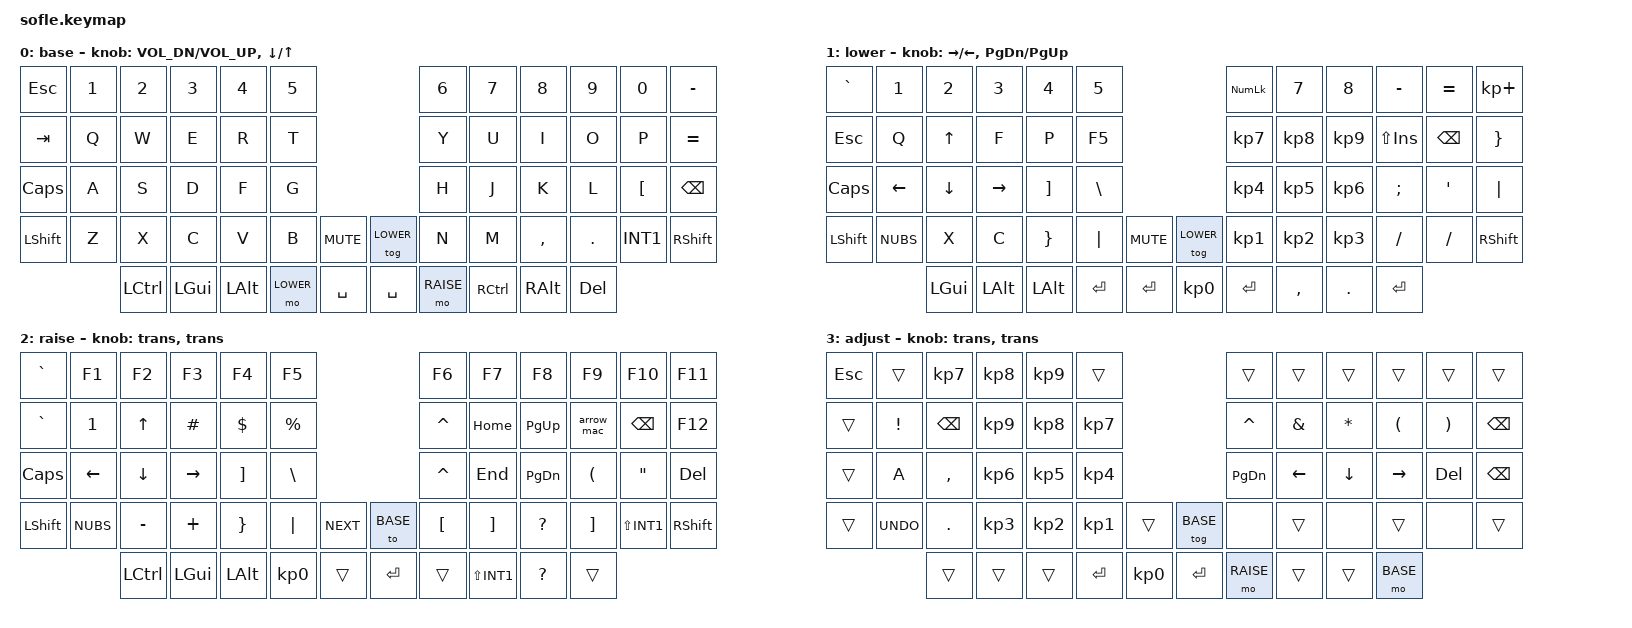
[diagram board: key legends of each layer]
/*
 * Migrated from Vial/QMK layout (layout_antigo.vil)
 */

#include <behaviors.dtsi>
#include <dt-bindings/zmk/keys.h>
#include <dt-bindings/zmk/bt.h>
#include <dt-bindings/zmk/rgb.h>
#include <dt-bindings/zmk/ext_power.h>

#define BASE   0
#define LOWER  1
#define RAISE  2
#define ADJUST 3

/ {

    // Holding LOWER + RAISE together activates ADJUST (same trick the old
    // FN_MO13 / FN_MO23 keycodes did in the QMK/Vial firmware).
    conditional_layers {
        compatible = "zmk,conditional-layers";
        adjust_layer {
            if-layers = <LOWER RAISE>;
            then-layer = <ADJUST>;
        };
    };

    macros {
        arrow_mac: arrow_mac {
            compatible = "zmk,behavior-macro";
            #binding-cells = <0>;
            bindings = <&macro_tap &kp MINUS &kp GT>;
        };
    };

    keymap {
        compatible = "zmk,keymap";

        default_layer {
            display-name = "base";
// ------------------------------------------------------------------------------------------------------------------------
// |  Esc  |  1  |  2  |  3  |  4  |  5  |                                |  6  |  7  |  8  |  9  |  0  |   -    |
// |  Tab  |  Q  |  W  |  E  |  R  |  T  |                                |  Y  |  U  |  I  |  O  |  P  |   =    |
// | Caps  |  A  |  S  |  D  |  F  |  G  |                                |  H  |  J  |  K  |  L  |  [  |  Bksp  |
// | Shift |  Z  |  X  |  C  |  V  |  B  | Mute |            | TG(LOWER) | |  N  |  M  |  ,  |  .  | RO  | Shift  |
//              | Ctrl | Gui | Alt | LOWER | Space |          | Space | RAISE | Ctrl | Alt | Del |
            bindings = <
&kp ESC    &kp N1   &kp N2   &kp N3   &kp N4   &kp N5                                    &kp N6   &kp N7   &kp N8    &kp N9   &kp N0   &kp MINUS
&kp TAB    &kp Q    &kp W    &kp E    &kp R    &kp T                                     &kp Y    &kp U    &kp I     &kp O    &kp P    &kp EQUAL
&kp CAPS   &kp A    &kp S    &kp D    &kp F    &kp G                                     &kp H    &kp J    &kp K     &kp L    &kp LBKT &kp BSPC
&kp LSHFT  &kp Z    &kp X    &kp C    &kp V    &kp B    &kp C_MUTE   &tog LOWER          &kp N    &kp M    &kp COMMA &kp DOT  &kp INT1 &kp RSHFT
                    &kp LCTRL &kp LGUI &kp LALT &mo LOWER &kp SPACE   &kp SPACE &mo RAISE &kp RCTRL &kp RALT &kp DEL
            >;

            sensor-bindings = <&inc_dec_kp C_VOL_DN C_VOL_UP &inc_dec_kp DOWN UP>;
        };

        lower_layer {
            display-name = "lower";
// ------------------------------------------------------------------------------------------------------------------------
// |   `   |  1  |  2  |  3  |  4  |  5  |                                | Num |  7  |  8  |  9  |  =  |  KP+   |
// |  Esc  |  Q  |  Up  |  F  |  P  | F5  |                                | KP7 | KP8 | KP9 | Ins | Bksp|   }    |
// | Caps  | Left| Down |Right|  ]  |  \  |                                | KP4 | KP5 | KP6 |  ;  |  '  |   |    |
// | Shift | RO  |  X   |  C  |  }  |  |  | Mute |            | TG(LOWER) | | KP1 | KP2 | KP3 |  /  |  /  | Shift  |
//              | Gui  | Alt | Alt | Enter | Enter  |          | KP0   | Enter | ,  |  .  | Enter |
            bindings = <
&kp GRAVE  &kp N1   &kp N2   &kp N3   &kp N4   &kp N5                                    &kp KP_NUM &kp N7    &kp N8    &kp MINUS &kp EQUAL &kp KP_PLUS
&kp ESC    &kp Q    &kp UP   &kp F    &kp P    &kp F5                                    &kp KP_N7  &kp KP_N8 &kp KP_N9 &kp LS(INSERT) &kp BSPC &kp RBRC
&kp CAPS   &kp LEFT &kp DOWN &kp RIGHT &kp RBKT &kp BSLH                                 &kp KP_N4  &kp KP_N5 &kp KP_N6 &kp SEMI  &kp SQT   &kp PIPE
&kp LSHFT  &kp NUBS &kp X    &kp C    &kp RBRC &kp PIPE &kp C_MUTE  &tog LOWER           &kp KP_N1  &kp KP_N2 &kp KP_N3 &kp FSLH  &kp FSLH  &kp RSHFT
                    &kp LGUI &kp LALT &kp LALT &kp RET  &kp RET     &kp KP_N0 &kp RET    &kp COMMA  &kp DOT   &kp RET
            >;

            sensor-bindings = <&inc_dec_kp RIGHT LEFT &inc_dec_kp PG_DN PG_UP>;
        };

        raise_layer {
            display-name = "raise";
// ------------------------------------------------------------------------------------------------------------------------
// |   `   | F1  | F2  | F3  | F4  | F5  |                                | F6  | F7  | F8  | F9  | F10 |   F11  |
// |   `   |  1  |  Up |  #  |  $  |  %  |                                |  ^  |Home |PgUp | "->"|Bksp |   F12  |
// | Caps  | Left| Down|Right|  ]  |  \  |                                |  ^  | End |PgDn |  (  |  "  |   Del  |
// | Shift | RO  |  -  |  +  |  }  |  |  |C_NEXT|            |  to(BASE) | |  [  |  ]  |  ?  |  ]  | ?RO |  Shift |
//              | Ctrl | Gui | Alt | KP0 | trans  |          | Enter | trans | ?RO | ?  | trans |
            bindings = <
&kp GRAVE  &kp F1   &kp F2   &kp F3   &kp F4   &kp F5                                    &kp F6     &kp F7    &kp F8      &kp F9     &kp F10  &kp F11
&kp GRAVE  &kp N1   &kp UP   &kp HASH &kp DLLR &kp PRCNT                                 &kp CARET  &kp HOME  &kp PG_UP   &arrow_mac &kp BSPC &kp F12
&kp CAPS   &kp LEFT &kp DOWN &kp RIGHT &kp RBKT &kp BSLH                                 &kp CARET  &kp END   &kp PG_DN   &kp LPAR   &kp DQT  &kp DEL
&kp LSHFT  &kp NUBS &kp MINUS &kp PLUS &kp RBRC &kp PIPE &kp C_NEXT  &to BASE            &kp LBKT   &kp RBKT  &kp QUESTION &kp RBKT  &kp LS(INT1) &kp RSHFT
                    &kp LCTRL &kp LGUI &kp LALT &kp KP_N0 &trans     &kp RET   &trans    &kp LS(INT1) &kp QUESTION &trans
            >;

            sensor-bindings = <&trans &trans>;
        };

        adjust_layer {
            display-name = "adjust";
// ------------------------------------------------------------------------------------------------------------------------
// |  Esc  |trans| KP7 | KP8 | KP9 |trans|                                |trans|trans|trans|trans|trans|  trans |
// | trans |  !  |Bksp | KP9 | KP8 | KP7 |                                |  ^  |  &  |  *  |  (  |  )  |  Bksp  |
// | trans |  A  |  ,  | KP6 | KP5 | KP4 |                                |PgDn |Left |Down |Right| Del |  Bksp  |
// | trans |Undo |  .  | KP3 | KP2 | KP1 |trans |            | tog(BASE) | |none |trans|none |trans|none | trans  |
//              | trans| trans| trans | Enter | KP0    |          | Enter | RAISE | trans | trans | mo(BASE) |
            bindings = <
&kp ESC    &trans   &kp KP_N7 &kp KP_N8 &kp KP_N9 &trans                                 &trans     &trans    &trans    &trans    &trans   &trans
&trans     &kp EXCL &kp BSPC  &kp KP_N9 &kp KP_N8 &kp KP_N7                              &kp CARET  &kp AMPS  &kp ASTRK &kp LPAR  &kp RPAR &kp BSPC
&trans     &kp A    &kp COMMA &kp KP_N6 &kp KP_N5 &kp KP_N4                              &kp PG_DN  &kp LEFT  &kp DOWN  &kp RIGHT &kp DEL  &kp BSPC
&trans     &kp K_UNDO &kp DOT &kp KP_N3 &kp KP_N2 &kp KP_N1 &trans    &tog BASE          &none      &trans    &none     &trans    &none    &trans
                    &trans   &trans    &trans    &kp RET   &kp KP_N0  &kp RET  &mo RAISE &trans     &trans    &mo BASE
            >;

            sensor-bindings = <&trans &trans>;
        };

    };
};
